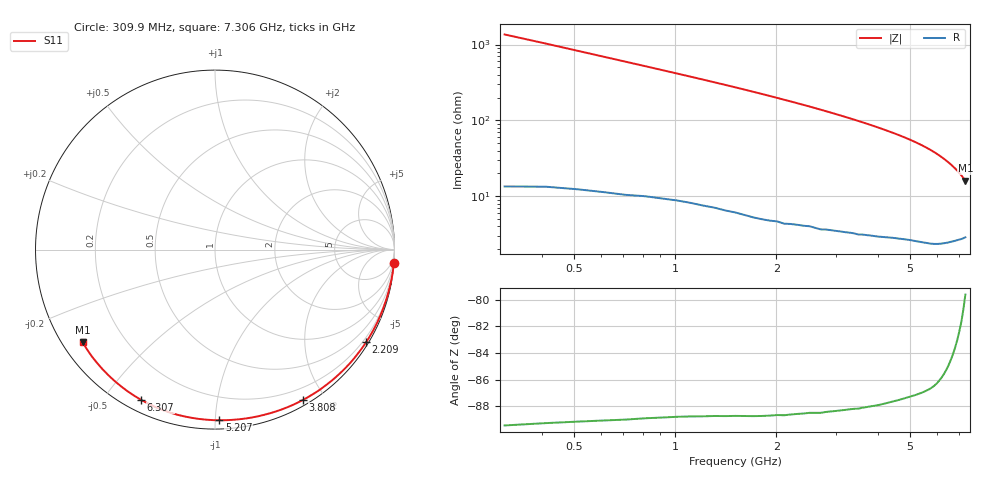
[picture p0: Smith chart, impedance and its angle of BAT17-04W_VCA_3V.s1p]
! Infineon Technologies  Discrete & RF Semiconductors
! BAT17-04W
! VCA = 3 V
! One-Port S-Parameters
# Hz  S  MA  R  50
!f  S11
!Hz  Mag  Ang
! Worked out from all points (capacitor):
!   71 points, 309.9 MHz to 7.306 GHz, reference 50 ohm
!   read as one part to ground: C = 376 fF near 309.9 MHz
!   lowest |Z| = 16 ohm at 7.306 GHz (marker M1)
!   S11 on the Smith chart (normalised r, x): 309.9 MHz: 0, -27; 2.209 GHz: 0.09, -3.55; 3.808 GHz: 0.06, -1.75; 5.207 GHz: 0.05, -1.02; 6.307 GHz: 0.05, -0.62; 7.306 GHz: 0.06, -0.31
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3.0985e8  0.9993 -4.2
7.0965e8  0.9971 -9.6
1.2094e9  0.9938 -16.5
1.4093e9  0.9927 -19.3
1.70915e9  0.9911 -23.7
2.10895e9  0.9885 -29.9
2.2089e9  0.9874 -31.5
2.6087e9  0.9839 -38.0
3.0085e9  0.9798 -44.9
3.4083e9  0.9753 -52.1
3.8081e9  0.9704 -59.6
4.008e9  0.9679 -63.4
4.30785e9  0.9635 -69.4
4.50775e9  0.9605 -73.4
4.70765e9  0.9577 -77.6
5.0075e9  0.9536 -84.1
5.2074e9  0.9513 -88.5
5.4073e9  0.9488 -93.2
5.6072e9  0.9462 -97.9
5.8071e9  0.9436 -102.9
6.007e9  0.9401 -108.1
6.10695e9  0.9379 -110.8
6.30685e9  0.933 -116.2
6.50675e9  0.9274 -121.7
6.70665e9  0.9213 -127.3
6.90655e9  0.915 -133.1
7.10645e9  0.9085 -138.9
7.30635e9  0.9004 -145.0
